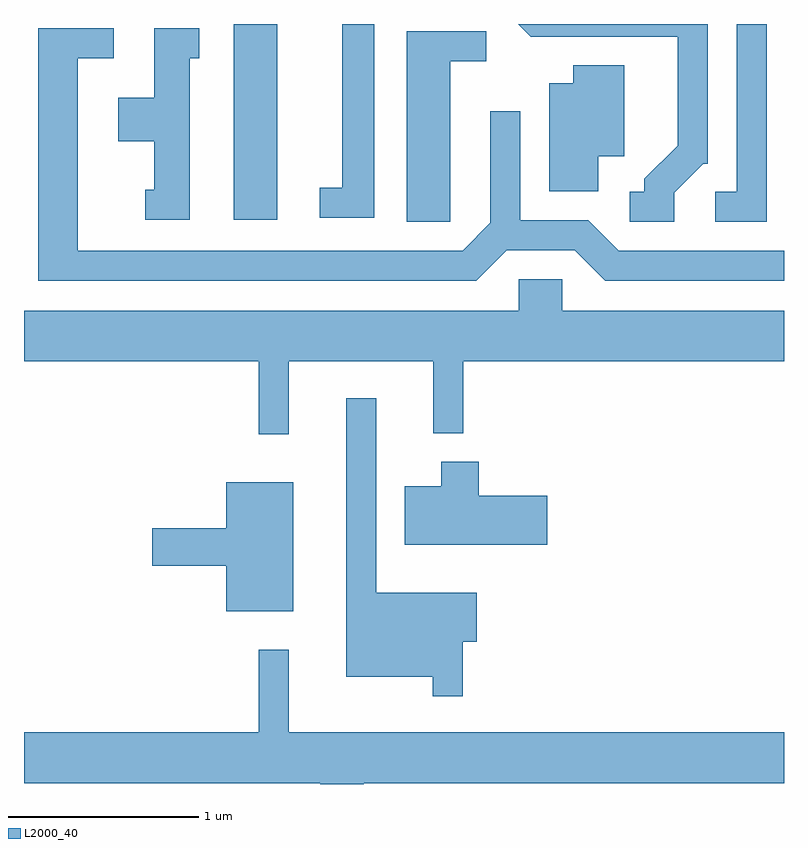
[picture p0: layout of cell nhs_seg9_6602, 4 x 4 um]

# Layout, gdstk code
import gdstk
lib = gdstk.Library(unit=1e-6, precision=1e-09)
def R(c, l, rs):  # rectangles x0, y0, x1, y1
    for r in rs: c.add(gdstk.rectangle(r[:2], r[2:], *l))
def P(c, l, *ps):  # polygons
    for p in ps: c.add(gdstk.Polygon(p, *l))
L2000_40 = (2000, 40)

nhs_seg9_6602 = lib.new_cell('nhs_seg9_6602')
R(nhs_seg9_6602, L2000_40, [(380.716,2041.401,380.944,2042.432)])
P(nhs_seg9_6602, L2000_40, [(383.519,2042.432),(383.361,2042.432),(383.361,2041.549),(383.248,2041.549),(383.248,2041.391),(383.519,2041.391)],
  [(381.454,2042.432),(381.286,2042.432),(381.286,2041.569),(381.168,2041.569),(381.168,2041.411),(381.454,2041.411)],
  [(383.034,2041.544),(383.187,2041.696),(383.209,2041.696),(383.209,2042.432),(382.213,2042.432),(382.279,2042.366),(383.051,2042.366),(383.051,2041.792),(382.876,2041.617),(382.876,2041.549),(382.798,2041.549),(382.798,2041.391),(383.034,2041.391)],
  [(382.152,2041.241),(382.509,2041.241),(382.669,2041.081),(383.611,2041.081),(383.611,2041.239),(382.742,2041.239),(382.582,2041.399),(382.224,2041.399),(382.224,2041.973),(382.066,2041.973),(382.066,2041.387),(381.919,2041.239),(379.894,2041.239),(379.894,2042.251),(380.083,2042.251),(380.083,2042.409),(379.686,2042.409),(379.686,2041.081),(381.992,2041.081)],
  [(380.484,2042.251),(380.533,2042.251),(380.533,2042.409),(380.296,2042.409),(380.296,2042.044),(380.106,2042.044),(380.106,2041.816),(380.296,2041.816),(380.296,2041.559),(380.248,2041.559),(380.248,2041.401),(380.484,2041.401)],
  [(381.854,2042.236),(382.043,2042.236),(382.043,2042.394),(381.626,2042.394),(381.626,2041.391),(381.854,2041.391)],
  [(382.634,2041.736),(382.769,2041.736),(382.769,2042.214),(382.501,2042.214),(382.501,2042.119),(382.376,2042.119),(382.376,2041.551),(382.634,2041.551)],
  [(381.004,2040.656),(381.766,2040.656),(381.766,2040.278),(381.924,2040.278),(381.924,2040.656),(383.611,2040.656),(383.611,2040.924),(382.444,2040.924),(382.444,2041.089),(382.216,2041.089),(382.216,2040.924),(379.611,2040.924),(379.611,2040.656),(380.846,2040.656),(380.846,2040.273),(381.004,2040.273)],
  [(381.919,2039.181),(381.994,2039.181),(381.994,2039.439),(381.464,2039.439),(381.464,2040.463),(381.306,2040.463),(381.306,2038.996),(381.761,2038.996),(381.761,2038.893),(381.919,2038.893)],
  [(382.364,2039.949),(382.004,2039.949),(382.004,2040.129),(381.806,2040.129),(381.806,2039.999),(381.616,2039.999),(381.616,2039.691),(382.364,2039.691)],
  [(381.029,2040.019),(380.676,2040.019),(380.676,2039.779),(380.286,2039.779),(380.286,2039.581),(380.676,2039.581),(380.676,2039.341),(381.029,2039.341)],
  [(381.399,2038.436),(383.611,2038.436),(383.611,2038.704),(381.004,2038.704),(381.004,2039.138),(380.846,2039.138),(380.846,2038.704),(379.611,2038.704),(379.611,2038.436),(381.171,2038.436),(381.171,2038.432),(381.399,2038.432)])

lib.write_gds('nhs_seg9_6602.gds')
